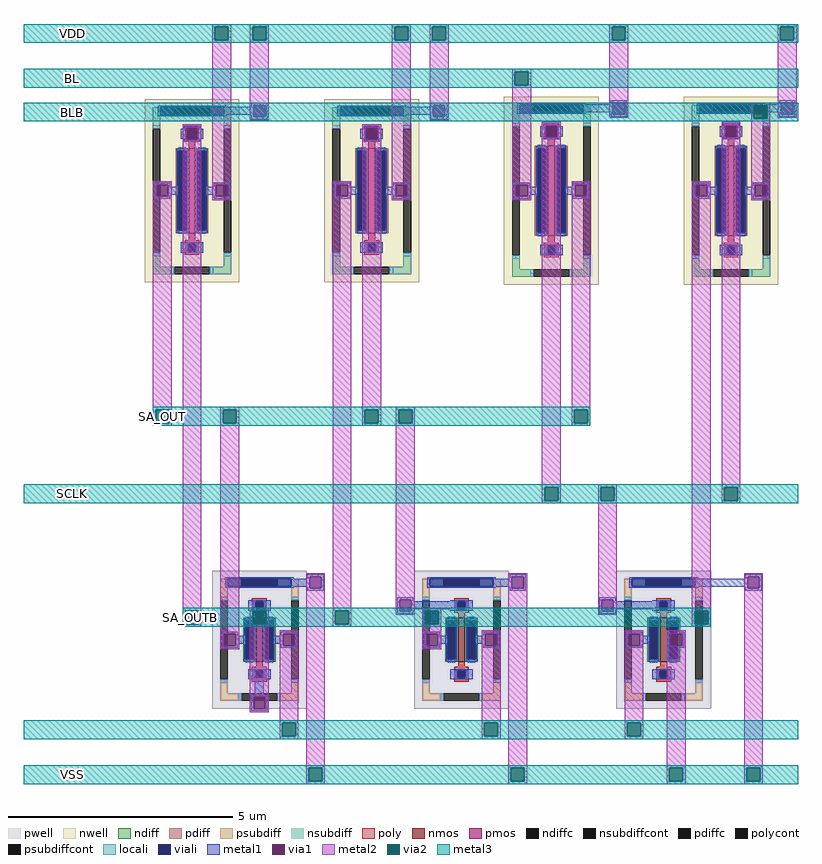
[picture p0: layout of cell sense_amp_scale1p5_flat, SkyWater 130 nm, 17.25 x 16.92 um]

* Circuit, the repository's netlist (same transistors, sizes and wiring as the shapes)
* NGSPICE file created from sense_amp_scale1p5_flat.ext - technology: sky130A

.subckt sense_amp_scale1p5_flat VDD VSS BL BLB SCLK SA_OUT SA_OUTB
X0 a_615_n3098# SA_OUT SA_OUTB VSS sky130_fd_pr__nfet_01v8 ad=0.2842 pd=2.54 as=0.2842 ps=2.54 w=0.98 l=0.15
X1 a_615_n3098# SA_OUTB SA_OUT VSS sky130_fd_pr__nfet_01v8 ad=0.2842 pd=2.54 as=0.2842 ps=2.54 w=0.98 l=0.15
X2 BLB SCLK SA_OUTB VDD sky130_fd_pr__pfet_01v8 ad=0.58 pd=4.58 as=0.58 ps=4.58 w=2 l=0.15
X3 VSS SCLK a_615_n3098# VSS sky130_fd_pr__nfet_01v8 ad=0.2842 pd=2.54 as=0.2842 ps=2.54 w=0.98 l=0.15
X4 VDD SA_OUTB SA_OUT VDD sky130_fd_pr__pfet_01v8 ad=0.5481 pd=4.36 as=0.5481 ps=4.36 w=1.89 l=0.15
X5 VDD SA_OUT SA_OUTB VDD sky130_fd_pr__pfet_01v8 ad=0.5481 pd=4.36 as=0.5481 ps=4.36 w=1.89 l=0.15
X6 SA_OUT SCLK BL VDD sky130_fd_pr__pfet_01v8 ad=0.58 pd=4.58 as=0.58 ps=4.58 w=2 l=0.15
.ends

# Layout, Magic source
magic
tech sky130A
magscale 1 2
<< nwell >>
rect 89 -1408 511 -592
rect 889 -1408 1311 -592
rect 1689 -1419 2111 -581
rect 2489 -1419 2911 -581
<< pwell >>
rect 389 -3308 811 -2692
rect 1289 -3308 1711 -2692
rect 2189 -3308 2611 -2692
<< nmos >>
rect 585 -3098 615 -2902
rect 1485 -3098 1515 -2902
rect 2385 -3098 2415 -2902
<< pmos >>
rect 285 -1189 315 -811
rect 1085 -1189 1115 -811
rect 1885 -1200 1915 -800
rect 2685 -1200 2715 -800
<< ndiff >>
rect 527 -2914 585 -2902
rect 527 -3086 539 -2914
rect 573 -3086 585 -2914
rect 527 -3098 585 -3086
rect 615 -2914 673 -2902
rect 615 -3086 627 -2914
rect 661 -3086 673 -2914
rect 615 -3098 673 -3086
rect 1427 -2914 1485 -2902
rect 1427 -3086 1439 -2914
rect 1473 -3086 1485 -2914
rect 1427 -3098 1485 -3086
rect 1515 -2914 1573 -2902
rect 1515 -3086 1527 -2914
rect 1561 -3086 1573 -2914
rect 1515 -3098 1573 -3086
rect 2327 -2914 2385 -2902
rect 2327 -3086 2339 -2914
rect 2373 -3086 2385 -2914
rect 2327 -3098 2385 -3086
rect 2415 -2914 2473 -2902
rect 2415 -3086 2427 -2914
rect 2461 -3086 2473 -2914
rect 2415 -3098 2473 -3086
<< pdiff >>
rect 227 -823 285 -811
rect 227 -1177 239 -823
rect 273 -1177 285 -823
rect 227 -1189 285 -1177
rect 315 -823 373 -811
rect 315 -1177 327 -823
rect 361 -1177 373 -823
rect 315 -1189 373 -1177
rect 1027 -823 1085 -811
rect 1027 -1177 1039 -823
rect 1073 -1177 1085 -823
rect 1027 -1189 1085 -1177
rect 1115 -823 1173 -811
rect 1115 -1177 1127 -823
rect 1161 -1177 1173 -823
rect 1115 -1189 1173 -1177
rect 1827 -812 1885 -800
rect 1827 -1188 1839 -812
rect 1873 -1188 1885 -812
rect 1827 -1200 1885 -1188
rect 1915 -812 1973 -800
rect 1915 -1188 1927 -812
rect 1961 -1188 1973 -812
rect 1915 -1200 1973 -1188
rect 2627 -812 2685 -800
rect 2627 -1188 2639 -812
rect 2673 -1188 2685 -812
rect 2627 -1200 2685 -1188
rect 2715 -812 2773 -800
rect 2715 -1188 2727 -812
rect 2761 -1188 2773 -812
rect 2715 -1200 2773 -1188
<< ndiffc >>
rect 539 -3086 573 -2914
rect 627 -3086 661 -2914
rect 1439 -3086 1473 -2914
rect 1527 -3086 1561 -2914
rect 2339 -3086 2373 -2914
rect 2427 -3086 2461 -2914
<< pdiffc >>
rect 239 -1177 273 -823
rect 327 -1177 361 -823
rect 1039 -1177 1073 -823
rect 1127 -1177 1161 -823
rect 1839 -1188 1873 -812
rect 1927 -1188 1961 -812
rect 2639 -1188 2673 -812
rect 2727 -1188 2761 -812
<< psubdiff >>
rect 425 -2762 521 -2728
rect 679 -2762 775 -2728
rect 425 -2824 459 -2762
rect 741 -2824 775 -2762
rect 425 -3238 459 -3176
rect 741 -3238 775 -3176
rect 425 -3272 521 -3238
rect 679 -3272 775 -3238
rect 1325 -2762 1421 -2728
rect 1579 -2762 1675 -2728
rect 1325 -2824 1359 -2762
rect 1641 -2824 1675 -2762
rect 1325 -3238 1359 -3176
rect 1641 -3238 1675 -3176
rect 1325 -3272 1421 -3238
rect 1579 -3272 1675 -3238
rect 2225 -2762 2321 -2728
rect 2479 -2762 2575 -2728
rect 2225 -2824 2259 -2762
rect 2541 -2824 2575 -2762
rect 2225 -3238 2259 -3176
rect 2541 -3238 2575 -3176
rect 2225 -3272 2321 -3238
rect 2479 -3272 2575 -3238
<< nsubdiff >>
rect 125 -662 221 -628
rect 379 -662 475 -628
rect 125 -724 159 -662
rect 441 -724 475 -662
rect 125 -1338 159 -1276
rect 441 -1338 475 -1276
rect 125 -1372 221 -1338
rect 379 -1372 475 -1338
rect 925 -662 1021 -628
rect 1179 -662 1275 -628
rect 925 -724 959 -662
rect 1241 -724 1275 -662
rect 925 -1338 959 -1276
rect 1241 -1338 1275 -1276
rect 925 -1372 1021 -1338
rect 1179 -1372 1275 -1338
rect 1725 -651 1821 -617
rect 1979 -651 2075 -617
rect 1725 -713 1759 -651
rect 2041 -713 2075 -651
rect 1725 -1349 1759 -1287
rect 2041 -1349 2075 -1287
rect 1725 -1383 1821 -1349
rect 1979 -1383 2075 -1349
rect 2525 -651 2621 -617
rect 2779 -651 2875 -617
rect 2525 -713 2559 -651
rect 2841 -713 2875 -651
rect 2525 -1349 2559 -1287
rect 2841 -1349 2875 -1287
rect 2525 -1383 2621 -1349
rect 2779 -1383 2875 -1349
<< psubdiffcont >>
rect 521 -2762 679 -2728
rect 425 -3176 459 -2824
rect 741 -3176 775 -2824
rect 521 -3272 679 -3238
rect 1421 -2762 1579 -2728
rect 1325 -3176 1359 -2824
rect 1641 -3176 1675 -2824
rect 1421 -3272 1579 -3238
rect 2321 -2762 2479 -2728
rect 2225 -3176 2259 -2824
rect 2541 -3176 2575 -2824
rect 2321 -3272 2479 -3238
<< nsubdiffcont >>
rect 221 -662 379 -628
rect 125 -1276 159 -724
rect 441 -1276 475 -724
rect 221 -1372 379 -1338
rect 1021 -662 1179 -628
rect 925 -1276 959 -724
rect 1241 -1276 1275 -724
rect 1021 -1372 1179 -1338
rect 1821 -651 1979 -617
rect 1725 -1287 1759 -713
rect 2041 -1287 2075 -713
rect 1821 -1383 1979 -1349
rect 2621 -651 2779 -617
rect 2525 -1287 2559 -713
rect 2841 -1287 2875 -713
rect 2621 -1383 2779 -1349
<< poly >>
rect 267 -730 333 -714
rect 267 -764 283 -730
rect 317 -764 333 -730
rect 267 -780 333 -764
rect 285 -811 315 -780
rect 285 -1220 315 -1189
rect 267 -1236 333 -1220
rect 267 -1270 283 -1236
rect 317 -1270 333 -1236
rect 267 -1286 333 -1270
rect 1067 -730 1133 -714
rect 1067 -764 1083 -730
rect 1117 -764 1133 -730
rect 1067 -780 1133 -764
rect 1085 -811 1115 -780
rect 1085 -1220 1115 -1189
rect 1067 -1236 1133 -1220
rect 1067 -1270 1083 -1236
rect 1117 -1270 1133 -1236
rect 1067 -1286 1133 -1270
rect 1867 -719 1933 -703
rect 1867 -753 1883 -719
rect 1917 -753 1933 -719
rect 1867 -769 1933 -753
rect 1885 -800 1915 -769
rect 1885 -1231 1915 -1200
rect 1867 -1247 1933 -1231
rect 1867 -1281 1883 -1247
rect 1917 -1281 1933 -1247
rect 1867 -1297 1933 -1281
rect 2667 -719 2733 -703
rect 2667 -753 2683 -719
rect 2717 -753 2733 -719
rect 2667 -769 2733 -753
rect 2685 -800 2715 -769
rect 2685 -1231 2715 -1200
rect 2667 -1247 2733 -1231
rect 2667 -1281 2683 -1247
rect 2717 -1281 2733 -1247
rect 2667 -1297 2733 -1281
rect 567 -2830 633 -2814
rect 567 -2864 583 -2830
rect 617 -2864 633 -2830
rect 567 -2880 633 -2864
rect 585 -2902 615 -2880
rect 585 -3120 615 -3098
rect 567 -3136 633 -3120
rect 567 -3170 583 -3136
rect 617 -3170 633 -3136
rect 567 -3186 633 -3170
rect 1467 -2830 1533 -2814
rect 1467 -2864 1483 -2830
rect 1517 -2864 1533 -2830
rect 1467 -2880 1533 -2864
rect 1485 -2902 1515 -2880
rect 1485 -3120 1515 -3098
rect 1467 -3136 1533 -3120
rect 1467 -3170 1483 -3136
rect 1517 -3170 1533 -3136
rect 1467 -3186 1533 -3170
rect 2367 -2830 2433 -2814
rect 2367 -2864 2383 -2830
rect 2417 -2864 2433 -2830
rect 2367 -2880 2433 -2864
rect 2385 -2902 2415 -2880
rect 2385 -3120 2415 -3098
rect 2367 -3136 2433 -3120
rect 2367 -3170 2383 -3136
rect 2417 -3170 2433 -3136
rect 2367 -3186 2433 -3170
<< polycont >>
rect 283 -764 317 -730
rect 283 -1270 317 -1236
rect 1083 -764 1117 -730
rect 1083 -1270 1117 -1236
rect 1883 -753 1917 -719
rect 1883 -1281 1917 -1247
rect 2683 -753 2717 -719
rect 2683 -1281 2717 -1247
rect 583 -2864 617 -2830
rect 583 -3170 617 -3136
rect 1483 -2864 1517 -2830
rect 1483 -3170 1517 -3136
rect 2383 -2864 2417 -2830
rect 2383 -3170 2417 -3136
<< locali >>
rect 125 -724 159 -708
rect 441 -724 475 -708
rect 267 -764 283 -730
rect 317 -764 333 -730
rect 239 -823 273 -807
rect 239 -1193 273 -1177
rect 327 -823 361 -807
rect 327 -1193 361 -1177
rect 267 -1270 283 -1236
rect 317 -1270 333 -1236
rect 125 -1292 159 -1276
rect 441 -1292 475 -1276
rect 925 -724 959 -708
rect 1241 -724 1275 -708
rect 1067 -764 1083 -730
rect 1117 -764 1133 -730
rect 1039 -823 1073 -807
rect 1039 -1193 1073 -1177
rect 1127 -823 1161 -807
rect 1127 -1193 1161 -1177
rect 1067 -1270 1083 -1236
rect 1117 -1270 1133 -1236
rect 925 -1292 959 -1276
rect 1241 -1292 1275 -1276
rect 1725 -713 1759 -697
rect 2041 -713 2075 -697
rect 1867 -753 1883 -719
rect 1917 -753 1933 -719
rect 1839 -812 1873 -796
rect 1839 -1204 1873 -1188
rect 1927 -812 1961 -796
rect 1927 -1204 1961 -1188
rect 1867 -1281 1883 -1247
rect 1917 -1281 1933 -1247
rect 1725 -1303 1759 -1287
rect 2041 -1303 2075 -1287
rect 2525 -713 2559 -697
rect 2841 -713 2875 -697
rect 2667 -753 2683 -719
rect 2717 -753 2733 -719
rect 2639 -812 2673 -796
rect 2639 -1204 2673 -1188
rect 2727 -812 2761 -796
rect 2727 -1204 2761 -1188
rect 2667 -1281 2683 -1247
rect 2717 -1281 2733 -1247
rect 2525 -1303 2559 -1287
rect 2841 -1303 2875 -1287
rect 205 -1372 221 -1338
rect 379 -1372 395 -1338
rect 1005 -1372 1021 -1338
rect 1179 -1372 1195 -1338
rect 1805 -1383 1821 -1349
rect 1979 -1383 1995 -1349
rect 2605 -1383 2621 -1349
rect 2779 -1383 2795 -1349
rect 425 -2824 459 -2808
rect 741 -2824 775 -2808
rect 567 -2864 583 -2830
rect 617 -2864 633 -2830
rect 539 -2914 573 -2898
rect 539 -3102 573 -3086
rect 627 -2914 661 -2898
rect 627 -3102 661 -3086
rect 567 -3170 583 -3136
rect 617 -3170 633 -3136
rect 425 -3192 459 -3176
rect 741 -3192 775 -3176
rect 1325 -2824 1359 -2808
rect 1641 -2824 1675 -2808
rect 1467 -2864 1483 -2830
rect 1517 -2864 1533 -2830
rect 1439 -2914 1473 -2898
rect 1439 -3102 1473 -3086
rect 1527 -2914 1561 -2898
rect 1527 -3102 1561 -3086
rect 1467 -3170 1483 -3136
rect 1517 -3170 1533 -3136
rect 1325 -3192 1359 -3176
rect 1641 -3192 1675 -3176
rect 2225 -2824 2259 -2808
rect 2541 -2824 2575 -2808
rect 2367 -2864 2383 -2830
rect 2417 -2864 2433 -2830
rect 2339 -2914 2373 -2898
rect 2339 -3102 2373 -3086
rect 2427 -2914 2461 -2898
rect 2427 -3102 2461 -3086
rect 2367 -3170 2383 -3136
rect 2417 -3170 2433 -3136
rect 2225 -3192 2259 -3176
rect 2541 -3192 2575 -3176
rect 505 -3272 521 -3238
rect 679 -3272 695 -3238
rect 1405 -3272 1421 -3238
rect 1579 -3272 1595 -3238
rect 2305 -3272 2321 -3238
rect 2479 -3272 2495 -3238
<< viali >>
rect 159 -662 221 -628
rect 221 -662 379 -628
rect 379 -662 441 -628
rect 959 -662 1021 -628
rect 1021 -662 1179 -628
rect 1179 -662 1241 -628
rect 1759 -651 1821 -617
rect 1821 -651 1979 -617
rect 1979 -651 2041 -617
rect 2559 -651 2621 -617
rect 2621 -651 2779 -617
rect 2779 -651 2841 -617
rect 283 -764 317 -730
rect 239 -1177 273 -823
rect 327 -1177 361 -823
rect 283 -1270 317 -1236
rect 1083 -764 1117 -730
rect 1039 -1177 1073 -823
rect 1127 -1177 1161 -823
rect 1083 -1270 1117 -1236
rect 1883 -753 1917 -719
rect 1839 -1188 1873 -812
rect 1927 -1188 1961 -812
rect 1883 -1281 1917 -1247
rect 2683 -753 2717 -719
rect 2639 -1188 2673 -812
rect 2727 -1188 2761 -812
rect 2683 -1281 2717 -1247
rect 459 -2762 521 -2728
rect 521 -2762 679 -2728
rect 679 -2762 741 -2728
rect 1359 -2762 1421 -2728
rect 1421 -2762 1579 -2728
rect 1579 -2762 1641 -2728
rect 2259 -2762 2321 -2728
rect 2321 -2762 2479 -2728
rect 2479 -2762 2541 -2728
rect 583 -2864 617 -2830
rect 539 -3086 573 -2914
rect 627 -3086 661 -2914
rect 583 -3170 617 -3136
rect 1483 -2864 1517 -2830
rect 1439 -3086 1473 -2914
rect 1527 -3086 1561 -2914
rect 1483 -3170 1517 -3136
rect 2383 -2864 2417 -2830
rect 2339 -3086 2373 -2914
rect 2427 -3086 2461 -2914
rect 2383 -3170 2417 -3136
<< metal1 >>
rect 2164 -608 2236 -598
rect 564 -619 636 -609
rect 147 -627 453 -622
rect 564 -627 574 -619
rect 147 -628 574 -627
rect 147 -662 159 -628
rect 441 -662 574 -628
rect 147 -663 574 -662
rect 147 -668 453 -663
rect 564 -671 574 -663
rect 626 -671 636 -619
rect 1364 -619 1436 -609
rect 947 -627 1253 -622
rect 1364 -627 1374 -619
rect 947 -628 1374 -627
rect 947 -662 959 -628
rect 1241 -662 1374 -628
rect 947 -663 1374 -662
rect 947 -668 1253 -663
rect 564 -681 636 -671
rect 1364 -671 1374 -663
rect 1426 -671 1436 -619
rect 1747 -616 2053 -611
rect 2164 -616 2174 -608
rect 1747 -617 2174 -616
rect 1747 -651 1759 -617
rect 2041 -651 2174 -617
rect 1747 -652 2174 -651
rect 1747 -657 2053 -652
rect 2164 -660 2174 -652
rect 2226 -660 2236 -608
rect 2914 -608 2986 -598
rect 2547 -616 2853 -611
rect 2914 -616 2924 -608
rect 2547 -617 2924 -616
rect 2547 -651 2559 -617
rect 2841 -651 2924 -617
rect 2547 -652 2924 -651
rect 2547 -657 2853 -652
rect 2164 -670 2236 -660
rect 2914 -660 2924 -652
rect 2976 -660 2986 -608
rect 2914 -670 2986 -660
rect 1364 -681 1436 -671
rect 1864 -710 1936 -700
rect 264 -721 336 -711
rect 264 -724 274 -721
rect 250 -770 274 -724
rect 326 -724 336 -721
rect 1064 -721 1136 -711
rect 1864 -713 1874 -710
rect 1064 -724 1074 -721
rect 264 -773 274 -770
rect 326 -770 350 -724
rect 1050 -770 1074 -724
rect 1126 -724 1136 -721
rect 326 -773 336 -770
rect 264 -783 336 -773
rect 1064 -773 1074 -770
rect 1126 -770 1150 -724
rect 1850 -759 1874 -713
rect 1926 -713 1936 -710
rect 2664 -710 2736 -700
rect 2664 -713 2674 -710
rect 1864 -762 1874 -759
rect 1926 -759 1950 -713
rect 2650 -759 2674 -713
rect 2726 -713 2736 -710
rect 1926 -762 1936 -759
rect 1126 -773 1136 -770
rect 1864 -772 1936 -762
rect 2664 -762 2674 -759
rect 2726 -759 2750 -713
rect 2726 -762 2736 -759
rect 2664 -772 2736 -762
rect 1064 -783 1136 -773
rect 233 -823 279 -811
rect 132 -974 204 -964
rect 132 -1026 142 -974
rect 194 -982 204 -974
rect 233 -982 239 -823
rect 194 -1018 239 -982
rect 194 -1026 204 -1018
rect 132 -1036 204 -1026
rect 233 -1177 239 -1018
rect 273 -1177 279 -823
rect 233 -1189 279 -1177
rect 321 -823 367 -811
rect 321 -1177 327 -823
rect 361 -982 367 -823
rect 1033 -823 1079 -811
rect 396 -974 468 -964
rect 396 -982 406 -974
rect 361 -1018 406 -982
rect 361 -1177 367 -1018
rect 396 -1026 406 -1018
rect 458 -1026 468 -974
rect 396 -1036 468 -1026
rect 932 -974 1004 -964
rect 932 -1026 942 -974
rect 994 -982 1004 -974
rect 1033 -982 1039 -823
rect 994 -1018 1039 -982
rect 994 -1026 1004 -1018
rect 932 -1036 1004 -1026
rect 321 -1189 367 -1177
rect 1033 -1177 1039 -1018
rect 1073 -1177 1079 -823
rect 1033 -1189 1079 -1177
rect 1121 -823 1167 -811
rect 1121 -1177 1127 -823
rect 1161 -982 1167 -823
rect 1833 -812 1879 -800
rect 1196 -974 1268 -964
rect 1196 -982 1206 -974
rect 1161 -1018 1206 -982
rect 1161 -1177 1167 -1018
rect 1196 -1026 1206 -1018
rect 1258 -1026 1268 -974
rect 1196 -1036 1268 -1026
rect 1732 -974 1804 -964
rect 1732 -1026 1742 -974
rect 1794 -982 1804 -974
rect 1833 -982 1839 -812
rect 1794 -1018 1839 -982
rect 1794 -1026 1804 -1018
rect 1732 -1036 1804 -1026
rect 1121 -1189 1167 -1177
rect 1833 -1188 1839 -1018
rect 1873 -1188 1879 -812
rect 1833 -1200 1879 -1188
rect 1921 -812 1967 -800
rect 1921 -1188 1927 -812
rect 1961 -982 1967 -812
rect 2633 -812 2679 -800
rect 1996 -974 2068 -964
rect 1996 -982 2006 -974
rect 1961 -1018 2006 -982
rect 1961 -1188 1967 -1018
rect 1996 -1026 2006 -1018
rect 2058 -1026 2068 -974
rect 1996 -1036 2068 -1026
rect 2532 -974 2604 -964
rect 2532 -1026 2542 -974
rect 2594 -982 2604 -974
rect 2633 -982 2639 -812
rect 2594 -1018 2639 -982
rect 2594 -1026 2604 -1018
rect 2532 -1036 2604 -1026
rect 1921 -1200 1967 -1188
rect 2633 -1188 2639 -1018
rect 2673 -1188 2679 -812
rect 2633 -1200 2679 -1188
rect 2721 -812 2767 -800
rect 2721 -1188 2727 -812
rect 2761 -982 2767 -812
rect 2796 -974 2868 -964
rect 2796 -982 2806 -974
rect 2761 -1018 2806 -982
rect 2761 -1188 2767 -1018
rect 2796 -1026 2806 -1018
rect 2858 -1026 2868 -974
rect 2796 -1036 2868 -1026
rect 2721 -1200 2767 -1188
rect 250 -1236 350 -1230
rect 250 -1270 283 -1236
rect 317 -1270 350 -1236
rect 250 -1276 350 -1270
rect 1050 -1236 1150 -1230
rect 1050 -1270 1083 -1236
rect 1117 -1270 1150 -1236
rect 1050 -1276 1150 -1270
rect 1850 -1247 1950 -1241
rect 1850 -1281 1883 -1247
rect 1917 -1281 1950 -1247
rect 1850 -1287 1950 -1281
rect 2650 -1247 2750 -1241
rect 2650 -1281 2683 -1247
rect 2717 -1281 2750 -1247
rect 2650 -1287 2750 -1281
rect 814 -2719 886 -2709
rect 447 -2727 753 -2722
rect 814 -2727 824 -2719
rect 447 -2728 824 -2727
rect 447 -2762 459 -2728
rect 741 -2762 824 -2728
rect 447 -2763 824 -2762
rect 447 -2768 753 -2763
rect 814 -2771 824 -2763
rect 876 -2771 886 -2719
rect 1714 -2719 1786 -2709
rect 1347 -2727 1653 -2722
rect 1714 -2727 1724 -2719
rect 1347 -2728 1724 -2727
rect 1347 -2762 1359 -2728
rect 1641 -2762 1724 -2728
rect 1347 -2763 1724 -2762
rect 1347 -2768 1653 -2763
rect 814 -2781 886 -2771
rect 1714 -2771 1724 -2763
rect 1776 -2771 1786 -2719
rect 2764 -2719 2836 -2709
rect 2247 -2727 2553 -2722
rect 2764 -2727 2774 -2719
rect 2247 -2728 2774 -2727
rect 2247 -2762 2259 -2728
rect 2541 -2762 2774 -2728
rect 2247 -2763 2774 -2762
rect 2247 -2768 2553 -2763
rect 1714 -2781 1786 -2771
rect 2764 -2771 2774 -2763
rect 2826 -2771 2836 -2719
rect 2764 -2781 2836 -2771
rect 1214 -2821 1286 -2811
rect 550 -2830 650 -2824
rect 550 -2864 583 -2830
rect 617 -2864 650 -2830
rect 550 -2870 650 -2864
rect 1214 -2873 1224 -2821
rect 1276 -2829 1286 -2821
rect 2114 -2821 2186 -2811
rect 1450 -2829 1550 -2824
rect 1276 -2830 1550 -2829
rect 1276 -2864 1483 -2830
rect 1517 -2864 1550 -2830
rect 1276 -2865 1550 -2864
rect 1276 -2873 1286 -2865
rect 1450 -2870 1550 -2865
rect 1214 -2883 1286 -2873
rect 2114 -2873 2124 -2821
rect 2176 -2829 2186 -2821
rect 2350 -2829 2450 -2824
rect 2176 -2830 2450 -2829
rect 2176 -2864 2383 -2830
rect 2417 -2864 2450 -2830
rect 2176 -2865 2450 -2864
rect 2176 -2873 2186 -2865
rect 2350 -2870 2450 -2865
rect 2114 -2883 2186 -2873
rect 533 -2914 579 -2902
rect 432 -2974 504 -2964
rect 432 -3026 442 -2974
rect 494 -2982 504 -2974
rect 533 -2982 539 -2914
rect 494 -3018 539 -2982
rect 494 -3026 504 -3018
rect 432 -3036 504 -3026
rect 533 -3086 539 -3018
rect 573 -3086 579 -2914
rect 533 -3098 579 -3086
rect 621 -2914 667 -2902
rect 621 -3086 627 -2914
rect 661 -2982 667 -2914
rect 1433 -2914 1479 -2902
rect 696 -2974 768 -2964
rect 696 -2982 706 -2974
rect 661 -3018 706 -2982
rect 661 -3086 667 -3018
rect 696 -3026 706 -3018
rect 758 -3026 768 -2974
rect 696 -3036 768 -3026
rect 1332 -2974 1404 -2964
rect 1332 -3026 1342 -2974
rect 1394 -2982 1404 -2974
rect 1433 -2982 1439 -2914
rect 1394 -3018 1439 -2982
rect 1394 -3026 1404 -3018
rect 1332 -3036 1404 -3026
rect 621 -3098 667 -3086
rect 1433 -3086 1439 -3018
rect 1473 -3086 1479 -2914
rect 1433 -3098 1479 -3086
rect 1521 -2914 1567 -2902
rect 1521 -3086 1527 -2914
rect 1561 -2982 1567 -2914
rect 2333 -2914 2379 -2902
rect 1596 -2974 1668 -2964
rect 1596 -2982 1606 -2974
rect 1561 -3018 1606 -2982
rect 1561 -3086 1567 -3018
rect 1596 -3026 1606 -3018
rect 1658 -3026 1668 -2974
rect 1596 -3036 1668 -3026
rect 2232 -2974 2304 -2964
rect 2232 -3026 2242 -2974
rect 2294 -2982 2304 -2974
rect 2333 -2982 2339 -2914
rect 2294 -3018 2339 -2982
rect 2294 -3026 2304 -3018
rect 2232 -3036 2304 -3026
rect 1521 -3098 1567 -3086
rect 2333 -3086 2339 -3018
rect 2373 -3086 2379 -2914
rect 2421 -2914 2467 -2902
rect 2421 -2964 2427 -2914
rect 2420 -3036 2427 -2964
rect 2461 -2964 2467 -2914
rect 2461 -2974 2492 -2964
rect 2482 -3026 2492 -2974
rect 2333 -3098 2379 -3086
rect 2421 -3086 2427 -3036
rect 2461 -3036 2492 -3026
rect 2461 -3086 2467 -3036
rect 2421 -3098 2467 -3086
rect 550 -3136 650 -3130
rect 550 -3170 583 -3136
rect 617 -3170 650 -3136
rect 550 -3176 650 -3170
rect 1450 -3136 1550 -3130
rect 1450 -3170 1483 -3136
rect 1517 -3170 1550 -3136
rect 1450 -3176 1550 -3170
rect 2350 -3136 2450 -3130
rect 2350 -3170 2383 -3136
rect 2417 -3170 2450 -3136
rect 2350 -3176 2450 -3170
rect 580 -3244 620 -3176
rect 564 -3254 636 -3244
rect 564 -3306 574 -3254
rect 626 -3306 636 -3254
rect 564 -3316 636 -3306
<< via1 >>
rect 574 -671 626 -619
rect 1374 -671 1426 -619
rect 2174 -660 2226 -608
rect 2924 -660 2976 -608
rect 274 -730 326 -721
rect 274 -764 283 -730
rect 283 -764 317 -730
rect 317 -764 326 -730
rect 274 -773 326 -764
rect 1074 -730 1126 -721
rect 1074 -764 1083 -730
rect 1083 -764 1117 -730
rect 1117 -764 1126 -730
rect 1074 -773 1126 -764
rect 1874 -719 1926 -710
rect 1874 -753 1883 -719
rect 1883 -753 1917 -719
rect 1917 -753 1926 -719
rect 1874 -762 1926 -753
rect 2674 -719 2726 -710
rect 2674 -753 2683 -719
rect 2683 -753 2717 -719
rect 2717 -753 2726 -719
rect 2674 -762 2726 -753
rect 142 -1026 194 -974
rect 406 -1026 458 -974
rect 942 -1026 994 -974
rect 1206 -1026 1258 -974
rect 1742 -1026 1794 -974
rect 2006 -1026 2058 -974
rect 2542 -1026 2594 -974
rect 2806 -1026 2858 -974
rect 824 -2771 876 -2719
rect 1724 -2771 1776 -2719
rect 2774 -2771 2826 -2719
rect 1224 -2873 1276 -2821
rect 2124 -2873 2176 -2821
rect 442 -3026 494 -2974
rect 706 -3026 758 -2974
rect 1342 -3026 1394 -2974
rect 1606 -3026 1658 -2974
rect 2242 -3026 2294 -2974
rect 2430 -3026 2461 -2974
rect 2461 -3026 2482 -2974
rect 574 -3306 626 -3254
<< metal2 >>
rect 390 -270 474 -258
rect 390 -330 402 -270
rect 462 -330 474 -270
rect 258 -721 342 -705
rect 258 -773 274 -721
rect 326 -773 342 -721
rect 126 -974 210 -958
rect 126 -1026 142 -974
rect 194 -1026 210 -974
rect 126 -1975 210 -1026
rect 126 -2035 138 -1975
rect 198 -2035 210 -1975
rect 126 -2047 210 -2035
rect 258 -2870 342 -773
rect 390 -974 474 -330
rect 558 -270 642 -258
rect 558 -330 570 -270
rect 630 -330 642 -270
rect 558 -619 642 -330
rect 558 -671 574 -619
rect 626 -671 642 -619
rect 558 -687 642 -671
rect 1190 -270 1274 -258
rect 1190 -330 1202 -270
rect 1262 -330 1274 -270
rect 1058 -721 1142 -705
rect 1058 -773 1074 -721
rect 1126 -773 1142 -721
rect 390 -1026 406 -974
rect 458 -1026 474 -974
rect 390 -1042 474 -1026
rect 926 -974 1010 -958
rect 926 -1026 942 -974
rect 994 -1026 1010 -974
rect 258 -2930 270 -2870
rect 330 -2930 342 -2870
rect 258 -2942 342 -2930
rect 426 -1975 510 -1963
rect 426 -2035 438 -1975
rect 498 -2035 510 -1975
rect 426 -2974 510 -2035
rect 808 -2719 892 -2703
rect 808 -2771 824 -2719
rect 876 -2771 892 -2719
rect 426 -3026 442 -2974
rect 494 -3026 510 -2974
rect 426 -3042 510 -3026
rect 558 -2870 642 -2858
rect 558 -2930 570 -2870
rect 630 -2930 642 -2870
rect 558 -3254 642 -2930
rect 558 -3306 574 -3254
rect 626 -3306 642 -3254
rect 558 -3322 642 -3306
rect 690 -2974 774 -2958
rect 690 -3026 706 -2974
rect 758 -3026 774 -2974
rect 690 -3370 774 -3026
rect 690 -3430 702 -3370
rect 762 -3430 774 -3370
rect 690 -3442 774 -3430
rect 808 -3570 892 -2771
rect 926 -2870 1010 -1026
rect 1058 -1975 1142 -773
rect 1190 -974 1274 -330
rect 1358 -270 1442 -258
rect 1358 -330 1370 -270
rect 1430 -330 1442 -270
rect 1358 -619 1442 -330
rect 2158 -270 2242 -258
rect 2158 -330 2170 -270
rect 2230 -330 2242 -270
rect 1358 -671 1374 -619
rect 1426 -671 1442 -619
rect 1358 -687 1442 -671
rect 1726 -470 1810 -458
rect 1726 -530 1738 -470
rect 1798 -530 1810 -470
rect 1190 -1026 1206 -974
rect 1258 -1026 1274 -974
rect 1190 -1042 1274 -1026
rect 1726 -974 1810 -530
rect 2158 -608 2242 -330
rect 2908 -270 2992 -258
rect 2908 -330 2920 -270
rect 2980 -330 2992 -270
rect 2908 -608 2992 -330
rect 2158 -660 2174 -608
rect 2226 -660 2242 -608
rect 2158 -676 2242 -660
rect 2790 -620 2874 -608
rect 2790 -680 2802 -620
rect 2862 -680 2874 -620
rect 2908 -660 2924 -608
rect 2976 -660 2992 -608
rect 2908 -676 2992 -660
rect 1726 -1026 1742 -974
rect 1794 -1026 1810 -974
rect 1726 -1042 1810 -1026
rect 1858 -710 1942 -694
rect 1858 -762 1874 -710
rect 1926 -762 1942 -710
rect 1058 -2035 1070 -1975
rect 1130 -2035 1142 -1975
rect 1058 -2047 1142 -2035
rect 1208 -1975 1292 -1963
rect 1208 -2035 1220 -1975
rect 1280 -2035 1292 -1975
rect 926 -2930 938 -2870
rect 998 -2930 1010 -2870
rect 1208 -2821 1292 -2035
rect 1858 -2320 1942 -762
rect 2658 -710 2742 -694
rect 2658 -762 2674 -710
rect 2726 -762 2742 -710
rect 1990 -974 2074 -958
rect 1990 -1026 2006 -974
rect 2058 -1026 2074 -974
rect 1990 -1975 2074 -1026
rect 1990 -2035 2002 -1975
rect 2062 -2035 2074 -1975
rect 1990 -2047 2074 -2035
rect 2526 -974 2610 -958
rect 2526 -1026 2542 -974
rect 2594 -1026 2610 -974
rect 1858 -2380 1870 -2320
rect 1930 -2380 1942 -2320
rect 1858 -2392 1942 -2380
rect 2108 -2320 2192 -2308
rect 2108 -2380 2120 -2320
rect 2180 -2380 2192 -2320
rect 1208 -2873 1224 -2821
rect 1276 -2873 1292 -2821
rect 1708 -2719 1792 -2703
rect 1708 -2771 1724 -2719
rect 1776 -2771 1792 -2719
rect 1208 -2889 1292 -2873
rect 1326 -2870 1410 -2858
rect 926 -2942 1010 -2930
rect 1326 -2930 1338 -2870
rect 1398 -2930 1410 -2870
rect 1326 -2974 1410 -2930
rect 1326 -3026 1342 -2974
rect 1394 -3026 1410 -2974
rect 1326 -3042 1410 -3026
rect 1590 -2974 1674 -2958
rect 1590 -3026 1606 -2974
rect 1658 -3026 1674 -2974
rect 1590 -3370 1674 -3026
rect 1590 -3430 1602 -3370
rect 1662 -3430 1674 -3370
rect 1590 -3442 1674 -3430
rect 808 -3630 820 -3570
rect 880 -3630 892 -3570
rect 808 -3642 892 -3630
rect 1708 -3570 1792 -2771
rect 2108 -2821 2192 -2380
rect 2108 -2873 2124 -2821
rect 2176 -2873 2192 -2821
rect 2108 -2889 2192 -2873
rect 2526 -2870 2610 -1026
rect 2658 -2320 2742 -762
rect 2790 -974 2874 -680
rect 2790 -1026 2806 -974
rect 2858 -1026 2874 -974
rect 2790 -1042 2874 -1026
rect 2658 -2380 2670 -2320
rect 2730 -2380 2742 -2320
rect 2658 -2392 2742 -2380
rect 2526 -2930 2538 -2870
rect 2598 -2930 2610 -2870
rect 2526 -2942 2610 -2930
rect 2758 -2719 2842 -2703
rect 2758 -2771 2774 -2719
rect 2826 -2771 2842 -2719
rect 2226 -2974 2310 -2958
rect 2226 -3026 2242 -2974
rect 2294 -3026 2310 -2974
rect 2226 -3370 2310 -3026
rect 2226 -3430 2238 -3370
rect 2298 -3430 2310 -3370
rect 2226 -3442 2310 -3430
rect 2414 -2974 2498 -2958
rect 2414 -3026 2430 -2974
rect 2482 -3026 2498 -2974
rect 1708 -3630 1720 -3570
rect 1780 -3630 1792 -3570
rect 1708 -3642 1792 -3630
rect 2414 -3570 2498 -3026
rect 2414 -3630 2426 -3570
rect 2486 -3630 2498 -3570
rect 2414 -3642 2498 -3630
rect 2758 -3570 2842 -2771
rect 2758 -3630 2770 -3570
rect 2830 -3630 2842 -3570
rect 2758 -3642 2842 -3630
<< via2 >>
rect 402 -330 462 -270
rect 138 -2035 198 -1975
rect 570 -330 630 -270
rect 1202 -330 1262 -270
rect 270 -2930 330 -2870
rect 438 -2035 498 -1975
rect 570 -2930 630 -2870
rect 702 -3430 762 -3370
rect 1370 -330 1430 -270
rect 2170 -330 2230 -270
rect 1738 -530 1798 -470
rect 2920 -330 2980 -270
rect 2802 -680 2862 -620
rect 1070 -2035 1130 -1975
rect 1220 -2035 1280 -1975
rect 938 -2930 998 -2870
rect 2002 -2035 2062 -1975
rect 1870 -2380 1930 -2320
rect 2120 -2380 2180 -2320
rect 1338 -2930 1398 -2870
rect 1602 -3430 1662 -3370
rect 820 -3630 880 -3570
rect 2670 -2380 2730 -2320
rect 2538 -2930 2598 -2870
rect 2238 -3430 2298 -3370
rect 1720 -3630 1780 -3570
rect 2426 -3630 2486 -3570
rect 2770 -3630 2830 -3570
<< metal3 >>
rect -450 -270 3000 -258
rect -450 -330 402 -270
rect 462 -330 570 -270
rect 630 -330 1202 -270
rect 1262 -330 1370 -270
rect 1430 -330 2170 -270
rect 2230 -330 2920 -270
rect 2980 -330 3000 -270
rect -450 -342 3000 -330
rect -450 -470 3000 -458
rect -450 -530 1738 -470
rect 1798 -530 3000 -470
rect -450 -542 3000 -530
rect -450 -620 3000 -608
rect -450 -680 2802 -620
rect 2862 -680 3000 -620
rect -450 -692 3000 -680
rect 126 -1975 2074 -1963
rect 126 -2035 138 -1975
rect 198 -2035 438 -1975
rect 498 -2035 1070 -1975
rect 1130 -2035 1220 -1975
rect 1280 -2035 2002 -1975
rect 2062 -2035 2074 -1975
rect 126 -2047 2074 -2035
rect -450 -2320 3000 -2308
rect -450 -2380 1870 -2320
rect 1930 -2380 2120 -2320
rect 2180 -2380 2670 -2320
rect 2730 -2380 3000 -2320
rect -450 -2392 3000 -2380
rect 258 -2870 2610 -2858
rect 258 -2930 270 -2870
rect 330 -2930 570 -2870
rect 630 -2930 938 -2870
rect 998 -2930 1338 -2870
rect 1398 -2930 2538 -2870
rect 2598 -2930 2610 -2870
rect 258 -2942 2610 -2930
rect -450 -3370 3000 -3358
rect -450 -3430 702 -3370
rect 762 -3430 1602 -3370
rect 1662 -3430 2238 -3370
rect 2298 -3430 3000 -3370
rect -450 -3442 3000 -3430
rect -450 -3570 3000 -3558
rect -450 -3630 820 -3570
rect 880 -3630 1720 -3570
rect 1780 -3630 2426 -3570
rect 2486 -3630 2770 -3570
rect 2830 -3630 3000 -3570
rect -450 -3642 3000 -3630
<< labels >>
rlabel metal3 -255 -325 -205 -275 0 VDD
port 0 n
rlabel metal3 -255 -3625 -205 -3575 0 VSS
port 1 n
rlabel metal3 -255 -525 -205 -475 0 BL
port 2 n
rlabel metal3 -255 -675 -205 -625 0 BLB
port 3 n
rlabel metal3 -255 -2375 -205 -2325 0 SCLK
port 4 n
rlabel metal3 145 -2030 195 -1980 0 SA_OUT
port 5 n
rlabel metal3 270 -2925 320 -2875 0 SA_OUTB
port 6 n
<< end >>
